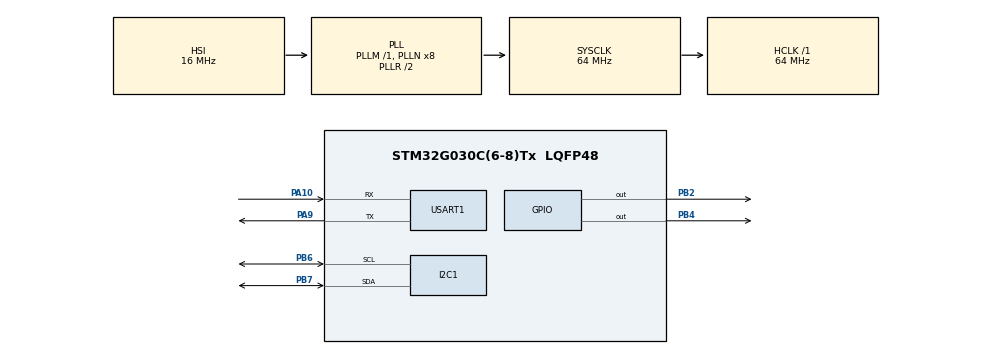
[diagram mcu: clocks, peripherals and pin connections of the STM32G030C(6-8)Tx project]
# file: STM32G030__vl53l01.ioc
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I2C1.Timing=0x10707DBC
Mcu.Family=STM32G0
Mcu.Name=STM32G030C(6-8)Tx
Mcu.Package=LQFP48
PA10.Mode=Asynchronous
PA10.Signal=USART1_RX
PA13.Mode=Serial_Wire
PA13.Signal=SYS_SWDIO
PA14-BOOT0.Mode=Serial_Wire
PA14-BOOT0.Signal=SYS_SWCLK
PA9.Mode=Asynchronous
PA9.Signal=USART1_TX
PB2.GPIO_ModeDefaultOutputPP=GPIO_MODE_OUTPUT_OD
PB2.GPIO_PuPd=GPIO_PULLUP
PB2.Signal=GPIO_Output
PB4.GPIO_ModeDefaultOutputPP=GPIO_MODE_OUTPUT_OD
PB4.GPIO_PuPd=GPIO_PULLUP
PB4.Signal=GPIO_Output
PB6.Mode=I2C
PB6.Signal=I2C1_SCL
PB7.Mode=I2C
PB7.Signal=I2C1_SDA
ProjectManager.HeapSize=0x200
ProjectManager.StackSize=0x400
ProjectManager.TargetToolchain=MDK-ARM V5.32
RCC.ADCFreq_Value=64000000
RCC.AHBFreq_Value=64000000
RCC.CortexFreq_Value=64000000
RCC.EXTERNAL_CLOCK_VALUE=12288000
RCC.HCLKFreq_Value=64000000
RCC.HSE_VALUE=8000000
RCC.HSI_VALUE=16000000
RCC.LSE_VALUE=32768
RCC.SYSCLKFreq_VALUE=64000000
RCC.SYSCLKSource=RCC_SYSCLKSOURCE_PLLCLK
RCC.VCOOutputFreq_Value=128000000
USART1.VirtualMode-Asynchronous=VM_ASYNC
board=custom

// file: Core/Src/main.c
/* USER CODE BEGIN Header */
/**
  ******************************************************************************
  * @file           : main.c
  * @brief          : Main program body
  ******************************************************************************
  * @attention
  *
  * Copyright (c) 2023 STMicroelectronics.
  * All rights reserved.
  *
  * This software is licensed under terms that can be found in the LICENSE file
  * in the root directory of this software component.
  * If no LICENSE file comes with this software, it is provided AS-IS.
  *
  ******************************************************************************
  */
/* USER CODE END Header */
#include "main.h"
#include "i2c.h"
#include "usart.h"
#include "gpio.h"

/* USER CODE BEGIN Includes */
#include "stdio.h"
#include "vl53l0x.h"
/* USER CODE END Includes */

void SystemClock_Config(void);
/* USER CODE BEGIN PFP */
int fputc(int ch, FILE *f){
	HAL_UART_Transmit(&huart1 , (uint8_t *)&ch, 1, 0xFFFF);
	return ch;
}
/* USER CODE END PFP */

/* USER CODE BEGIN 0 */
uint32_t millis(void);

uint16_t L=0;

// current uptime for 1kHz systick timer. will rollover after 49 days. hopefully we won't care.
volatile uint32_t sysTickUptime = 0;
/* USER CODE END 0 */

int main(void)
{

  /* MCU Configuration--------------------------------------------------------*/

  /* Reset of all peripherals, Initializes the Flash interface and the Systick. */
  HAL_Init();

  /* Configure the system clock */
  SystemClock_Config();

  /* Initialize all configured peripherals */
  MX_GPIO_Init();
  MX_I2C1_Init();
  MX_USART1_UART_Init();
  /* USER CODE BEGIN 2 */
	HAL_GPIO_WritePin(GPIOB,GPIO_PIN_2,GPIO_PIN_SET);
	HAL_GPIO_WritePin(GPIOB,GPIO_PIN_4,GPIO_PIN_RESET);

			HAL_Delay(200);
	printf("123");
	if (!VL53L0X_Init(VL53L0X_DEFAULT_I2C_ADDR1,true))
  {
    printf("Failed to detect and initialize sensor!");
    while (1) {}
  }
  /* USER CODE END 2 */

  /* Infinite loop */
  /* USER CODE BEGIN WHILE */
  while (1)
  {
		L=VL53L0X_readRangeSingleMillimeters(VL53L0X_DEFAULT_I2C_ADDR1);
				printf("L=%d",L);

		HAL_Delay(1000);
    /* USER CODE END WHILE */

  }
}

void SystemClock_Config(void)
{
  RCC_OscInitTypeDef RCC_OscInitStruct = {0};
  RCC_ClkInitTypeDef RCC_ClkInitStruct = {0};

  /** Configure the main internal regulator output voltage
  */
  HAL_PWREx_ControlVoltageScaling(PWR_REGULATOR_VOLTAGE_SCALE1);

  /** Initializes the RCC Oscillators according to the specified parameters
  * in the RCC_OscInitTypeDef structure.
  */
  RCC_OscInitStruct.OscillatorType = RCC_OSCILLATORTYPE_HSI;
  RCC_OscInitStruct.HSIState = RCC_HSI_ON;
  RCC_OscInitStruct.HSIDiv = RCC_HSI_DIV1;
  RCC_OscInitStruct.HSICalibrationValue = RCC_HSICALIBRATION_DEFAULT;
  RCC_OscInitStruct.PLL.PLLState = RCC_PLL_ON;
  RCC_OscInitStruct.PLL.PLLSource = RCC_PLLSOURCE_HSI;
  RCC_OscInitStruct.PLL.PLLM = RCC_PLLM_DIV1;
  RCC_OscInitStruct.PLL.PLLN = 8;
  RCC_OscInitStruct.PLL.PLLP = RCC_PLLP_DIV2;
  RCC_OscInitStruct.PLL.PLLR = RCC_PLLR_DIV2;
  if (HAL_RCC_OscConfig(&RCC_OscInitStruct) != HAL_OK)
  {
    Error_Handler();
  }

  /** Initializes the CPU, AHB and APB buses clocks
  */
  RCC_ClkInitStruct.ClockType = RCC_CLOCKTYPE_HCLK|RCC_CLOCKTYPE_SYSCLK
                              |RCC_CLOCKTYPE_PCLK1;
  RCC_ClkInitStruct.SYSCLKSource = RCC_SYSCLKSOURCE_PLLCLK;
  RCC_ClkInitStruct.AHBCLKDivider = RCC_SYSCLK_DIV1;
  RCC_ClkInitStruct.APB1CLKDivider = RCC_HCLK_DIV1;

  if (HAL_RCC_ClockConfig(&RCC_ClkInitStruct, FLASH_LATENCY_2) != HAL_OK)
  {
    Error_Handler();
  }
}

/* USER CODE BEGIN 4 */
// cycles per microsecond

// Return system uptime in milliseconds (rollover in 49 days)
uint32_t millis(void)
{
    return sysTickUptime;
}

/* USER CODE END 4 */

void Error_Handler(void)
{
  __disable_irq();
  while (1)
  {
  }
}
